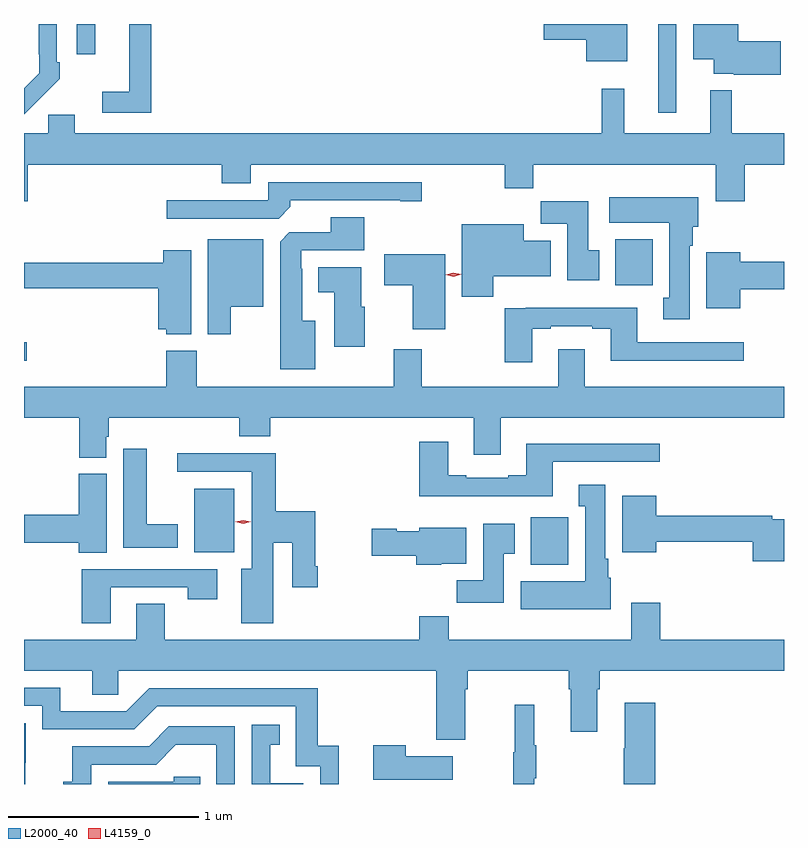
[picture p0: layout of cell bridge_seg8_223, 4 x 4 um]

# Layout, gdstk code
import gdstk
lib = gdstk.Library(unit=1e-6, precision=1e-09)
def R(c, l, rs):  # rectangles x0, y0, x1, y1
    for r in rs: c.add(gdstk.rectangle(r[:2], r[2:], *l))
def P(c, l, *ps):  # polygons
    for p in ps: c.add(gdstk.Polygon(p, *l))
L2000_40 = (2000, 40)
L4159_0 = (4159, 0)

bridge_seg8_223 = lib.new_cell('bridge_seg8_223')
R(bridge_seg8_223, L2000_40, [(136.427,1083.758,136.623,1084.009), (134.654,1083.824,134.866,1084.159), (133.759,1084.832,133.774,1084.929), (136.871,1085.228,137.068,1085.47), (137.096,1086.138,137.193,1086.604), (134.037,1086.444,134.133,1086.604)])
P(bridge_seg8_223, L2000_40, [(134.429,1086.604),(134.222,1086.604),(134.222,1086.602),(134.312,1086.602),(134.312,1086.247),(134.172,1086.247),(134.172,1086.138),(134.429,1086.138)],
  [(137.743,1086.512),(137.518,1086.512),(137.518,1086.604),(137.282,1086.604),(137.282,1086.419),(137.39,1086.419),(137.39,1086.341),(137.494,1086.341),(137.494,1086.336),(137.743,1086.336)],
  [(136.933,1086.604),(136.494,1086.604),(136.494,1086.521),(136.718,1086.521),(136.718,1086.407),(136.933,1086.407)],
  [(133.841,1086.211),(133.842,1086.21),(133.947,1086.315),(133.947,1086.403),(133.932,1086.403),(133.932,1086.604),(133.836,1086.604),(133.836,1086.445),(133.839,1086.445),(133.839,1086.345),(133.759,1086.265),(133.759,1086.129)],
  [(133.778,1085.864),(134.801,1085.864),(134.801,1085.765),(134.953,1085.765),(134.953,1085.864),(136.288,1085.864),(136.288,1085.74),(136.439,1085.74),(136.439,1085.864),(137.399,1085.864),(137.399,1085.67),(137.552,1085.67),(137.552,1085.864),(137.759,1085.864),(137.759,1086.028),(137.484,1086.028),(137.484,1086.256),(137.372,1086.256),(137.372,1086.028),(136.919,1086.028),(136.919,1086.262),(136.801,1086.262),(136.801,1086.028),(134.026,1086.028),(134.026,1086.126),(133.887,1086.126),(133.887,1086.028),(133.759,1086.028),(133.759,1085.67),(133.778,1085.67)],
  [(135.161,1085.642),(135.161,1085.676),(135.74,1085.676),(135.74,1085.671),(135.853,1085.671),(135.853,1085.772),(135.045,1085.772),(135.045,1085.676),(134.511,1085.676),(134.511,1085.58),(135.099,1085.58)],
  [(137.263,1085.438),(137.278,1085.438),(137.278,1085.538),(137.308,1085.538),(137.308,1085.692),(136.839,1085.692),(136.839,1085.558),(137.156,1085.558),(137.156,1085.162),(137.123,1085.162),(137.123,1085.049),(137.263,1085.049)],
  [(136.786,1085.412),(136.729,1085.412),(136.729,1085.671),(136.48,1085.671),(136.48,1085.552),(136.619,1085.552),(136.619,1085.256),(136.786,1085.256)],
  [(135.292,1085.041),(135.223,1085.041),(135.223,1085.315),(135.219,1085.315),(135.219,1085.412),(135.55,1085.412),(135.55,1085.587),(135.374,1085.587),(135.374,1085.508),(135.156,1085.508),(135.107,1085.459),(135.107,1084.787),(135.292,1084.787)],
  [(136.23,1085.276),(136.531,1085.276),(136.531,1085.464),(136.39,1085.464),(136.39,1085.551),(136.064,1085.551),(136.064,1085.169),(136.23,1085.169)],
  [(134.848,1085.117),(135.019,1085.117),(135.019,1085.47),(134.726,1085.47),(134.726,1084.971),(134.848,1084.971)],
  [(134.638,1085.413),(134.492,1085.413),(134.492,1085.348),(133.759,1085.348),(133.759,1085.212),(134.465,1085.212),(134.465,1084.997),(134.508,1084.997),(134.508,1084.97),(134.638,1084.97)],
  [(137.53,1085.207),(137.759,1085.207),(137.759,1085.354),(137.53,1085.354),(137.53,1085.404),(137.351,1085.404),(137.351,1085.108),(137.53,1085.108)],
  [(135.976,1085.392),(135.654,1085.392),(135.654,1085.23),(135.806,1085.23),(135.806,1084.997),(135.976,1084.997)],
  [(135.553,1085.115),(135.535,1085.115),(135.535,1085.323),(135.308,1085.323),(135.308,1085.192),(135.392,1085.192),(135.392,1084.905),(135.553,1084.905)],
  [(136.435,1085.001),(136.531,1085.001),(136.531,1085.013),(136.751,1085.013),(136.751,1085.001),(136.847,1085.001),(136.847,1084.832),(137.548,1084.832),(137.548,1084.929),(136.987,1084.929),(136.987,1085.11),(136.399,1085.11),(136.399,1085.109),(136.288,1085.109),(136.288,1084.824),(136.435,1084.824)],
  [(134.191,1084.431),(134.204,1084.431),(134.204,1084.532),(134.891,1084.532),(134.891,1084.433),(135.056,1084.433),(135.056,1084.532),(136.127,1084.532),(136.127,1084.338),(136.267,1084.338),(136.267,1084.532),(137.759,1084.532),(137.759,1084.696),(136.711,1084.696),(136.711,1084.891),(136.571,1084.891),(136.571,1084.696),(135.852,1084.696),(135.852,1084.891),(135.704,1084.891),(135.704,1084.696),(134.667,1084.696),(134.667,1084.885),(134.507,1084.885),(134.507,1084.696),(133.759,1084.696),(133.759,1084.532),(134.051,1084.532),(134.051,1084.321),(134.191,1084.321)],
  [(136.543,1084.299),(137.104,1084.299),(137.104,1084.396),(136.403,1084.396),(136.403,1084.228),(136.307,1084.228),(136.307,1084.215),(136.087,1084.215),(136.087,1084.228),(135.991,1084.228),(135.991,1084.405),(135.839,1084.405),(135.839,1084.118),(136.543,1084.118)],
  [(134.569,1083.97),(134.404,1083.97),(134.404,1084.369),(134.282,1084.369),(134.282,1083.848),(134.569,1083.848)],
  [(135.07,1083.875),(135.17,1083.875),(135.17,1083.639),(135.305,1083.639),(135.305,1083.751),(135.292,1083.751),(135.292,1084.04),(135.083,1084.04),(135.083,1084.346),(134.565,1084.346),(134.565,1084.248),(134.957,1084.248),(134.957,1083.736),(134.903,1083.736),(134.903,1083.45),(135.07,1083.45)],
  [(134.194,1084.236),(134.048,1084.236),(134.048,1084.022),(133.759,1084.022),(133.759,1083.875),(134.048,1083.875),(134.048,1083.82),(134.194,1083.82)],
  [(136.846,1083.69),(136.834,1083.69),(136.834,1083.79),(136.819,1083.79),(136.819,1084.18),(136.679,1084.18),(136.679,1084.067),(136.712,1084.067),(136.712,1083.67),(136.373,1083.67),(136.373,1083.524),(136.846,1083.524)],
  [(137.759,1083.997),(137.698,1083.997),(137.698,1084.016),(137.086,1084.016),(137.086,1084.12),(136.907,1084.12),(136.907,1083.824),(137.086,1083.824),(137.086,1083.88),(137.594,1083.88),(137.594,1083.776),(137.759,1083.776)],
  [(136.285,1083.817),(136.342,1083.817),(136.342,1083.973),(136.175,1083.973),(136.175,1083.676),(136.036,1083.676),(136.036,1083.558),(136.285,1083.558)],
  [(135.954,1083.764),(136.087,1083.764),(136.087,1083.952),(135.84,1083.952),(135.84,1083.934),(135.72,1083.934),(135.72,1083.947),(135.588,1083.947),(135.588,1083.805),(135.824,1083.805),(135.824,1083.758),(135.954,1083.758)],
  [(134.215,1083.639),(134.62,1083.639),(134.62,1083.576),(134.776,1083.576),(134.776,1083.735),(134.063,1083.735),(134.063,1083.45),(134.215,1083.45)],
  [(135.995,1083.488),(135.839,1083.488),(135.839,1083.364),(134.499,1083.364),(134.499,1083.554),(134.351,1083.554),(134.351,1083.364),(133.759,1083.364),(133.759,1083.2),(134.117,1083.2),(134.117,1083.073),(134.256,1083.073),(134.256,1083.2),(135.929,1083.2),(135.929,1082.838),(136.081,1082.838),(136.081,1083.104),(136.094,1083.104),(136.094,1083.2),(136.625,1083.2),(136.625,1083.104),(136.637,1083.104),(136.637,1082.88),(136.777,1082.88),(136.777,1083.104),(136.79,1083.104),(136.79,1083.2),(137.759,1083.2),(137.759,1083.364),(137.108,1083.364),(137.108,1083.559),(136.955,1083.559),(136.955,1083.364),(135.995,1083.364)],
  [(135.416,1082.806),(135.305,1082.806),(135.305,1083.108),(134.418,1083.108),(134.298,1082.988),(133.951,1082.988),(133.951,1083.111),(133.759,1083.111),(133.759,1083.015),(133.854,1083.015),(133.854,1082.892),(134.34,1082.892),(134.46,1083.012),(135.189,1083.012),(135.189,1082.697),(135.318,1082.697),(135.318,1082.604),(135.416,1082.604)],
  [(137.081,1083.031),(136.922,1083.031),(136.922,1082.792),(136.915,1082.792),(136.915,1082.604),(137.081,1082.604)],
  [(136.445,1082.635),(136.456,1082.635),(136.456,1082.809),(136.445,1082.809),(136.445,1083.022),(136.342,1083.022),(136.342,1082.772),(136.335,1082.772),(136.335,1082.604),(136.445,1082.604)],
  [(133.766,1082.717),(133.767,1082.717),(133.767,1082.923),(133.759,1082.923),(133.759,1082.604),(133.766,1082.604)],
  [(135.228,1082.607),(135.055,1082.607),(135.055,1082.811),(135.104,1082.811),(135.104,1082.917),(134.958,1082.917),(134.958,1082.604),(135.228,1082.604)],
  [(134.112,1082.706),(134.454,1082.706),(134.558,1082.81),(134.772,1082.81),(134.772,1082.604),(134.868,1082.604),(134.868,1082.907),(134.522,1082.907),(134.417,1082.802),(134.014,1082.802),(134.014,1082.617),(133.965,1082.617),(133.965,1082.604),(134.112,1082.604)],
  [(136.015,1082.749),(135.767,1082.749),(135.767,1082.809),(135.596,1082.809),(135.596,1082.627),(136.015,1082.627)],
  [(134.687,1082.643),(134.547,1082.643),(134.547,1082.616),(134.202,1082.616),(134.202,1082.604),(134.687,1082.604)])
P(bridge_seg8_223, L4159_0, [(136.02,1085.275),(135.98,1085.283),(135.98,1085.283),(135.98,1085.283),(136.019,1085.295),(136.059,1085.286),(136.06,1085.286),(136.059,1085.286)],
  [(134.912,1083.973),(134.871,1083.983),(134.871,1083.983),(134.871,1083.984),(134.912,1083.993),(134.953,1083.984),(134.953,1083.983),(134.953,1083.983)])

lib.write_gds('bridge_seg8_223.gds')
